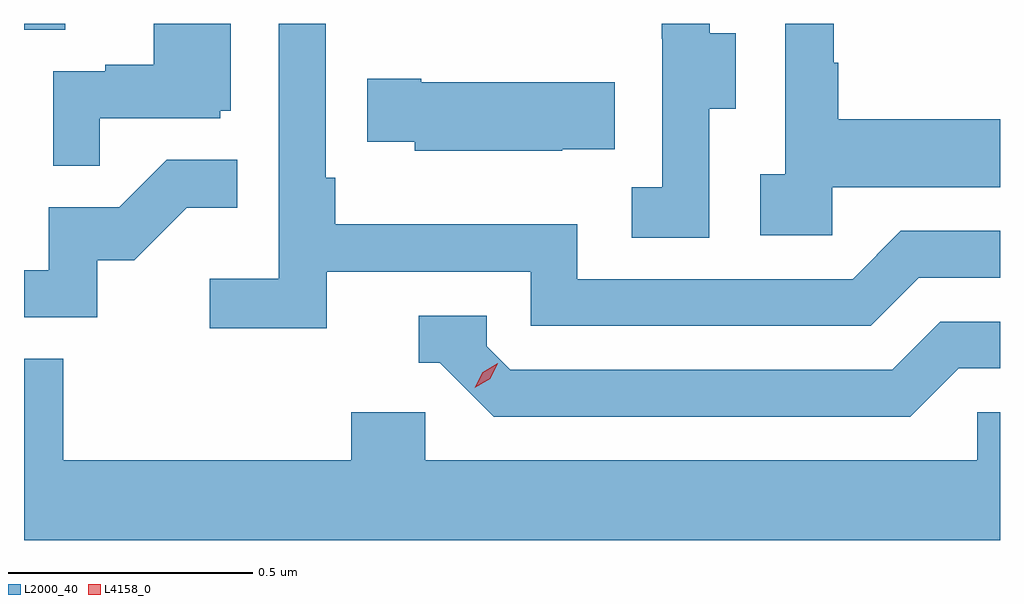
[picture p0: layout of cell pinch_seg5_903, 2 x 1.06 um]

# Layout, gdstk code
import gdstk
lib = gdstk.Library(unit=1e-6, precision=1e-09)
def R(c, l, rs):  # rectangles x0, y0, x1, y1
    for r in rs: c.add(gdstk.rectangle(r[:2], r[2:], *l))
def P(c, l, *ps):  # polygons
    for p in ps: c.add(gdstk.Polygon(p, *l))
L2000_40 = (2000, 40)
L4158_0 = (4158, 0)

pinch_seg5_903 = lib.new_cell('pinch_seg5_903')
R(pinch_seg5_903, L2000_40, [(868.596,885.778,868.681,885.79)])
P(pinch_seg5_903, L2000_40, [(868.751,885.597),(868.998,885.597),(868.998,885.612),(869.02,885.612),(869.02,885.79),(868.862,885.79),(868.862,885.706),(868.763,885.706),(868.763,885.693),(868.656,885.693),(868.656,885.499),(868.751,885.499)],
  [(870,885.616),(870.055,885.616),(870.055,885.771),(870.001,885.771),(870.001,885.79),(869.903,885.79),(869.903,885.759),(869.904,885.759),(869.904,885.455),(869.841,885.455),(869.841,885.352),(870,885.352)],
  [(870.252,885.455),(870.596,885.455),(870.596,885.595),(870.265,885.595),(870.265,885.71),(870.255,885.71),(870.255,885.79),(870.156,885.79),(870.156,885.482),(870.105,885.482),(870.105,885.357),(870.252,885.357)],
  [(869.216,885.282),(869.634,885.282),(869.634,885.171),(870.331,885.171),(870.43,885.27),(870.596,885.27),(870.596,885.366),(870.393,885.366),(870.294,885.267),(869.73,885.267),(869.73,885.379),(869.234,885.379),(869.234,885.475),(869.214,885.475),(869.214,885.79),(869.118,885.79),(869.118,885.268),(868.977,885.268),(868.977,885.166),(869.216,885.166)],
  [(869.699,885.533),(869.807,885.533),(869.807,885.67),(869.41,885.67),(869.41,885.678),(869.299,885.678),(869.299,885.548),(869.397,885.548),(869.397,885.53),(869.699,885.53)],
  [(868.746,885.306),(868.822,885.306),(868.929,885.413),(869.033,885.413),(869.033,885.512),(868.889,885.512),(868.791,885.414),(868.647,885.414),(868.647,885.285),(868.596,885.285),(868.596,885.189),(868.746,885.189)],
  [(870.511,885.084),(870.596,885.084),(870.596,885.18),(870.474,885.18),(870.375,885.081),(869.592,885.081),(869.544,885.129),(869.544,885.192),(869.405,885.192),(869.405,885.096),(869.448,885.096),(869.559,884.985),(870.412,884.985)],
  [(870.596,884.994),(870.549,884.994),(870.549,884.896),(869.418,884.896),(869.418,884.994),(869.267,884.994),(869.267,884.896),(868.676,884.896),(868.676,885.104),(868.596,885.104),(868.596,884.732),(870.596,884.732)])
P(pinch_seg5_903, L4158_0, [(869.52,885.044),(869.52,885.044),(869.536,885.076),(869.567,885.095),(869.567,885.095),(869.567,885.095),(869.551,885.063),(869.52,885.044)])

lib.write_gds('pinch_seg5_903.gds')
